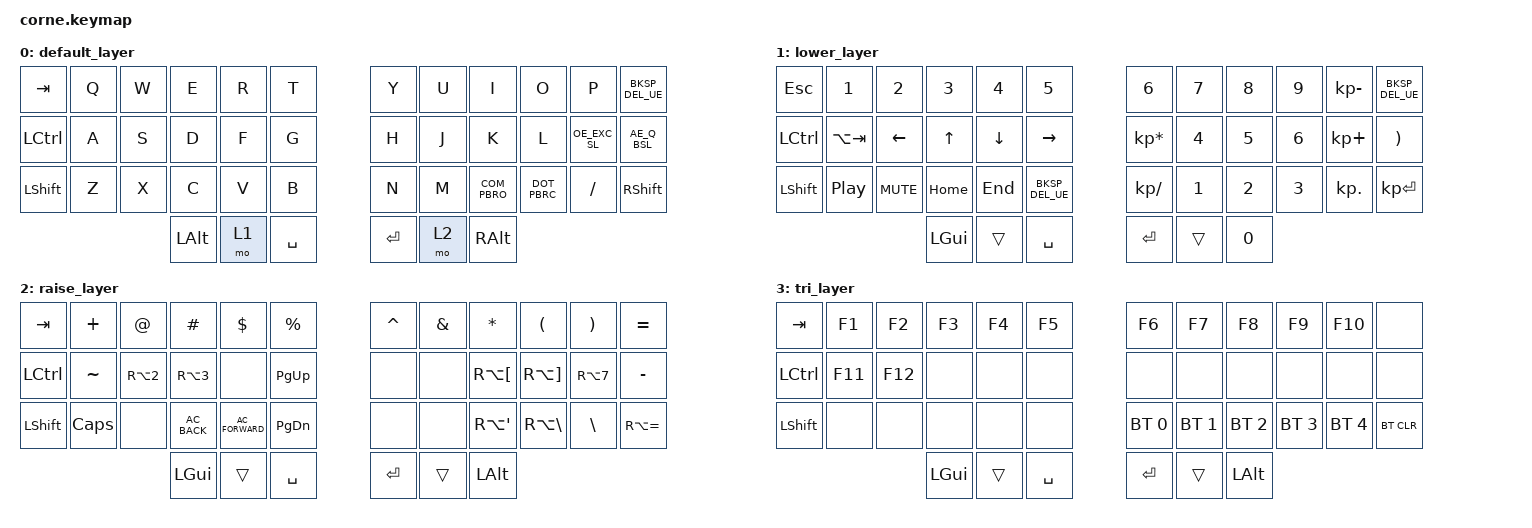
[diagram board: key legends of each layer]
/*
 * Copyright (c) 2020 The ZMK Contributors
 *
 * SPDX-License-Identifier: MIT
 */

// kp values according to US keyboard, but in layout visualization adapted to CH layout

#include <behaviors.dtsi>
#include <dt-bindings/zmk/keys.h>
#include <dt-bindings/zmk/bt.h>

/ {
        behaviors {
// Chained mods for backspace, delete on shift and umlaut ue on alt on same key
                DEL_UE: delete_ue {
                        compatible = "zmk,behavior-mod-morph";
                        #binding-cells = <0>;
                        bindings = <&kp BKSP>, <&kp LBKT>;
                        mods = <(MOD_LALT|MOD_RALT)>;
                };
                
                BKSP_DEL_UE: backspace_delete_ue {
                        compatible = "zmk,behavior-mod-morph";
                        #binding-cells = <0>;
                        bindings = <&DEL_UE>, <&kp DELETE>;
                        mods = <(MOD_LSFT|MOD_RSFT)>;
                };

// Mod for adding exclamation point and slash to oe umlaut
                OE_EXC: oe_exclamation {
                        compatible = "zmk,behavior-mod-morph";
                        #binding-cells = <0>;
                        bindings = <&kp SEMI>, <&kp RBRC>; 
                        mods = <(MOD_LSFT|MOD_RSFT)>;
                };

                OE_EXC_SL: oe_exclamation_slash {
                        compatible = "zmk,behavior-mod-morph";
                        #binding-cells = <0>;
                        bindings = <&OE_EXC>, <&kp AMPS>; 
                        mods = <(MOD_LALT|MOD_RALT)>;
                };                

// Mod for adding question mark and backslash to ae umlaut
                AE_Q: ae_questionmark {
                        compatible = "zmk,behavior-mod-morph";
                        #binding-cells = <0>;
                        bindings = <&kp SQT>, <&kp UNDER>;
                        mods = <(MOD_LSFT|MOD_RSFT)>;
                };
                
                AE_Q_BSL: ae_questionmark_backslash {
                        compatible = "zmk,behavior-mod-morph";
                        #binding-cells = <0>;
                        bindings = <&AE_Q>, <&kp RA(NUBS)>;
                        mods = <(MOD_LALT|MOD_RALT)>;
                };


// Mod for adding < to comma
                COM_PBRO: comma_pbropen {
                        compatible = "zmk,behavior-mod-morph";
                        #binding-cells = <0>;
                        bindings = <&kp COMMA>, <&kp NUBS>;
                        mods = <(MOD_LALT|MOD_RALT)>;
                };
// Mod for adding > to dot
                DOT_PBRC: dot_pbrclosed {
                        compatible = "zmk,behavior-mod-morph";
                        #binding-cells = <0>;
                        bindings = <&kp DOT>, <&kp LS(NUBS)>;
                        mods = <(MOD_LALT|MOD_RALT)>;
                };                

        };

        conditional_layers {
                compatible = "zmk,conditional-layers";
                tri-layer {
                        if-layers = <1 2>;
                        then-layer = <3>;
                };
        };


        keymap {
                compatible = "zmk,keymap";

                default_layer {
// -----------------------------------------------------------------------------------------
// |  TAB |  Q  |  W  |  E  |  R  |  T  |   |  Z  |  U   |  I  |  O  |  P      | BKSP_DEL_UE |
// | CTRL |  A  |  S  |  D  |  F  |  G  |   |  H  |  J   |  K  |  L  |OE_EXC_SL| AE_Q_BSL |
// | SHFT |  Y  |  X  |  C  |  V  |  B  |   |  N  |  M   |  ,< |  .> |  -      | SHFT |
//                    | LALT| LWR | SPC |   | ENT | RSE  | RALT|
                        bindings = <
   &kp TAB   &kp Q &kp W &kp E    &kp R &kp T       &kp Y   &kp U  &kp I       &kp O       &kp P      &BKSP_DEL_UE
   &kp LCTRL &kp A &kp S &kp D    &kp F &kp G       &kp H   &kp J  &kp K       &kp L       &OE_EXC_SL &AE_Q_BSL
   &kp LSHFT &kp Z &kp X &kp C    &kp V &kp B       &kp N   &kp M  &COM_PBRO   &DOT_PBRC   &kp FSLH   &kp RSHFT
                         &kp LALT &mo 1 &kp SPACE   &kp RET &mo 2  &kp RALT
                        >;
                };      

                lower_layer {
// -----------------------------------------------------------------------------------------
// |  ESC |  1  |  2  |  3  |  4  |  5        |   |  6  |  7  |  8  |  9  |  -  | BKSP_DEL_UE |
// | CTRL |AlTab| LFT |  UP | DWN | RGT       |   |  *  |  4  |  5  |  6  |  +  |  =  |
// | SHFT |C_PP |C_MUT| HOM | END |BKSP_DEL_UE|   |  /  |  1  |  2  |  3  |  .  | ENT |
//                    | GUI |     | SPC       |   | ENT |     |  0  |
                        bindings = <
   &kp ESC   &kp N1           &kp N2     &kp N3     &kp N4    &kp N5       &kp N6          &kp N7  &kp N8  &kp N9  &kp KP_MINUS &BKSP_DEL_UE
   &kp LCTRL &kp LA(TAB)      &kp LEFT   &kp UP     &kp DOWN  &kp RIGHT    &kp KP_MULTIPLY &kp N4  &kp N5  &kp N6  &kp KP_PLUS  &kp RPAR
   &kp LSHFT &kp C_PLAY_PAUSE &kp C_MUTE &kp HOME   &kp END   &BKSP_DEL_UE &kp KP_DIVIDE   &kp N1  &kp N2  &kp N3  &kp KP_DOT   &kp KP_ENTER
                                         &kp LGUI   &trans    &kp SPACE    &kp RET         &trans  &kp N0
                        >;
                };

                raise_layer {
// -----------------------------------------------------------------------------------------
// |  TAB |  +  |  "  |  *  |  ç  |  %  |   |  &  |  /  |  (  |  )  |  =  |  ^   |
// | CTRL |  °  |  @  |  #  |     |PG_UP|   |     |     |  [  |  ]  | "|" |  '   |
// | SHFT | CAPS|     |BACK |FWD  |PG_DN|   |     |     |  {  |  }  |  $  |  ~   |
//                    | GUI |     | SPC |   | ENT |     | ALT |
                        bindings = <
   &kp TAB   &kp PLUS  &kp AT     &kp HASH      &kp DLLR          &kp PRCNT        &kp CARET &kp AMPS  &kp ASTRK      &kp LPAR     &kp RPAR     &kp EQUAL
   &kp LCTRL &kp TILDE &kp RA(N2) &kp RA(N3)    &none             &kp PG_UP        &none     &none     &kp RA(LBKT)   &kp RA(RBKT) &kp RA(N7)   &kp MINUS
   &kp LSHFT &kp CAPS  &none      &kp C_AC_BACK &kp C_AC_FORWARD  &kp PG_DN        &none     &none     &kp RA(SQT)    &kp RA(BSLH) &kp BSLH     &kp RA(EQUAL)
                                  &kp LGUI      &trans            &kp SPACE    &kp RET   &trans    &kp LALT
                        >;
                };


                tri_layer {
// -----------------------------------------------------------------------------------------
// |  TAB | F1  | F2  | F3  | F4  | F5  |   | F6  | F7  | F8  | F9  | F10 |     |
// | CTRL | F11 | F12 |     |     |     |   |     |     |     |     |     |     |
// | SHFT |     |     |     |     |     |   | BT1 | BT2 | BT3 | BT4 | BT5 |BTCLR|
//                    | GUI |     | SPC |   | ENT |     | ALT |
                        bindings = <
   &kp  TAB  &kp F1  &kp F2  &kp F3   &kp F4  &kp F5      &kp F6       &kp F7       &kp F8       &kp F9       &kp F10      &none
   &kp LCTRL &kp F11 &kp F12 &none    &none   &none       &none        &none        &none        &none        &none        &none
   &kp LSHFT &none   &none   &none    &none   &none       &bt BT_SEL 0 &bt BT_SEL 1 &bt BT_SEL 2 &bt BT_SEL 3 &bt BT_SEL 4 &bt BT_CLR
                             &kp LGUI &trans  &kp SPACE   &kp RET      &trans       &kp LALT
                        >;
                };

      
        };
};
